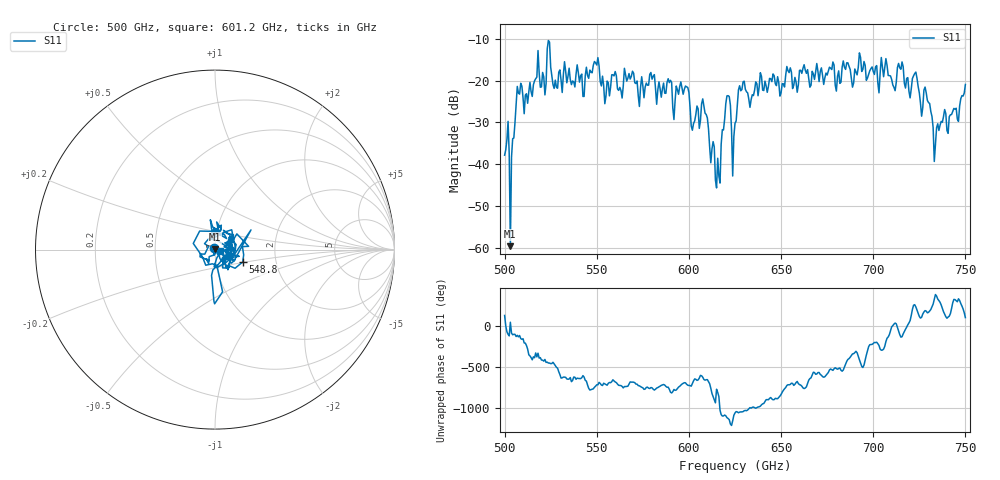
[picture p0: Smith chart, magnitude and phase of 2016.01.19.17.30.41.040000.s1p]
!Created with skrf (http://scikit-rf.org).
# GHz S RI R 50.0
!freq ReS11 ImS11
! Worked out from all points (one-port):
!   401 points, 500 GHz to 750 GHz, reference 50 ohm
!   lowest |S11| = -59.7 dB at 503.1 GHz (marker M1), VSWR 1.00, Z = 50.1 + j0.0718 ohm
!   |S11| at or under -10 dB: start of sweep to end of sweep
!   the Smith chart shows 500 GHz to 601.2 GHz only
!   S11 on the Smith chart (normalised r, x): 500 GHz: 0.99, +0.02; 548.8 GHz: 1.35, -0.19; 601.2 GHz: 1.06, -0.01
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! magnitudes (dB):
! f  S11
! 500 GHz  -37.9
! 503.1 GHz  -59.7
! 504.4 GHz  -33.9
! 508.1 GHz  -23.2
! 521.2 GHz  -19.2
! 524.4 GHz  -10.8
! 527.5 GHz  -19.9
! 531.2 GHz  -22.9
! 548.8 GHz  -15.4
! 562.5 GHz  -21.6
! 568.8 GHz  -19.0
! 593.8 GHz  -22.2
! 598.8 GHz  -21.5
! 601.2 GHz  -30.9
! 608.1 GHz  -26.2
! 615.6 GHz  -38.6
! 620.6 GHz  -23.7
! 625 GHz  -30.2
! 628.8 GHz  -22.1
! 656.2 GHz  -21.9
! 687.5 GHz  -17.3
! 705.6 GHz  -19.1
! 711.2 GHz  -21.6
! 715 GHz  -17.3
! 718.8 GHz  -19.3
! 728.8 GHz  -23.0
! 734.4 GHz  -31.3
! 750 GHz  -21.0
